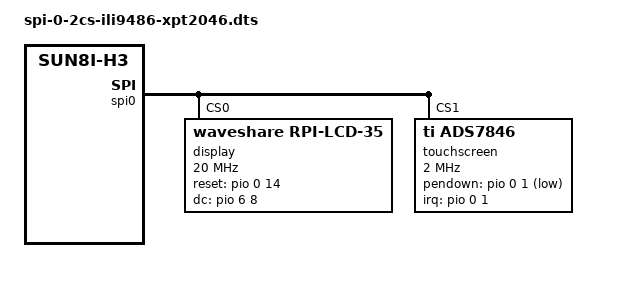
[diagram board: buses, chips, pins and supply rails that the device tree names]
// SPDX-License-Identifier: (GPL-2.0+ OR MIT)
/*
 * Copyright (c) 2022 Da Xue <da@libre.computer>
 * Author: Da Xue <da@libre.computer>
 */

/*
 * Enables ILI9486 based 3.5" touchscreen on 40P header 7J1 without tuning parameters
 * Requires spi0-cs1 overlay
 */

/dts-v1/;
/plugin/;

#include <dt-bindings/gpio/gpio.h>
#include <dt-bindings/interrupt-controller/irq.h>

/ {
	compatible = "libretech,all-h3-cc-h5", "libretech,all-h3-cc-h3", "allwinner,sun50i-h5", "allwinner,sun8i-h3";

	fragment@0 {
		target-path = "/aliases";
		__overlay__ {
			spi0 = "/soc/spi@01c68000";
		};
	};

	fragment@1 {
		target = <&pio>;
		__overlay__ {
			ads7846_pins: ads7846_pins {
				pins = "PA1";
				function = "irq";
			};
		};
	};

	fragment@2 {
		target = <&spi0>;
		__overlay__ {
			#address-cells = <1>;
			#size-cells = <0>;
			
			display@0 {
				compatible = "waveshare,rpi-lcd-35", "ilitek,ili9486";
				reg = <0>;
				spi-max-frequency = <20000000>;
				reset-gpios = <&pio 0 14 GPIO_ACTIVE_HIGH>;
				dc-gpios = <&pio 6 8 GPIO_ACTIVE_HIGH>;
				status = "okay";
			};

			touchscreen@1 {
				compatible = "ti,ads7846";
				reg = <1>;
				pinctrl-names = "default";
				pinctrl-0 = <&ads7846_pins>;
				spi-max-frequency = <2000000>;
				interrupt-parent = <&pio>;
				interrupts = <0 1 IRQ_TYPE_EDGE_FALLING>;
				pendown-gpio = <&pio 0 1 GPIO_ACTIVE_LOW>;
				ti,x-plate-ohms = /bits/ 16 <60>;
				ti,pressure-max = /bits/ 16 <255>;
				wakeup-source;
				status = "okay";
			};
		};
	};
};
